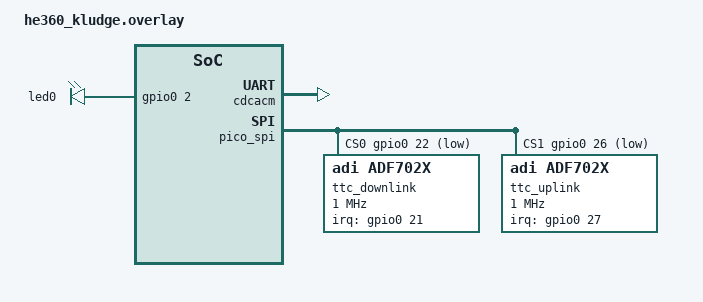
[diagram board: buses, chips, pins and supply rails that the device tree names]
/*
 * Copyright (c) 2024 Liam Beguin <liambeguin@gmail.com>
 *
 * SPDX-License-Identifier: Apache-2.0
 */
#include <zephyr/dt-bindings/ieee802154/ieee802154_adf702x.h>

/ {
	chosen {
		led0 = &led0;

		nsp,rx = &ttc_downlink;
		nsp,tx = &ttc_uplink;

		nsp,uart = &cdcacm;
	};
};

&zephyr_udc0 {
	cdcacm: cdc_acm_uart0 {
		compatible = "zephyr,cdc-acm-uart";
	};
};

&led0 {
	gpios = <&gpio0 2 GPIO_ACTIVE_HIGH>;
};

&pico_spi {
	status = "okay";
	cs-gpios = <&gpio0 22 GPIO_ACTIVE_LOW>,
		   <&gpio0 26 GPIO_ACTIVE_LOW>;

	ttc_downlink: adf7024_rx_800: downlink-895@0 {
		status = "okay";
		compatible = "adi,adf702x";
		reg = <0>;
		spi-max-frequency = <1000000>;

		channel-frequency = <895000000>;

		irq-gpios = <&gpio0 21 GPIO_ACTIVE_HIGH>;
	};

	ttc_uplink: adf7024_tx_400: uplink-434@1 {
		status = "okay";
		compatible = "adi,adf702x";
		reg = <1>;
		spi-max-frequency = <1000000>;

		channel-frequency = <(434000000)>;
		adf7024,radio-profile = <RADIO_PROFILE_B>;

		adf702x,pa-level = "-5";

		irq-gpios = <&gpio0 27 GPIO_ACTIVE_HIGH>;
	};
};
